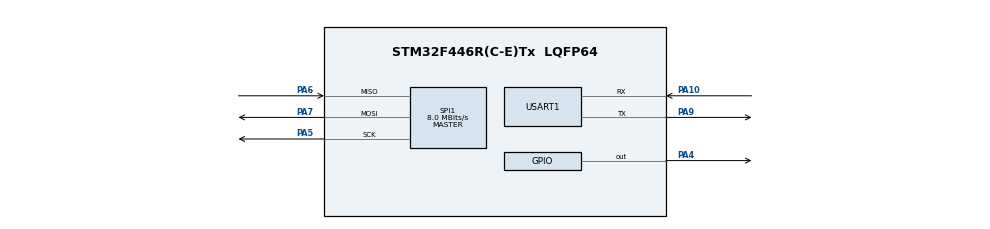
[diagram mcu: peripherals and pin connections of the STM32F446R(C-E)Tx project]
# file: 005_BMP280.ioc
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Mcu.Family=STM32F4
Mcu.Name=STM32F446R(C-E)Tx
Mcu.Package=LQFP64
NVIC.PriorityGroup=NVIC_PRIORITYGROUP_4
NVIC.SPI1_IRQn=true\:0\:0\:false\:false\:true\:true\:true\:true
NVIC.USART1_IRQn=true\:0\:0\:false\:false\:true\:true\:true\:true
PA10.Mode=Asynchronous
PA10.Signal=USART1_RX
PA4.Signal=GPIO_Output
PA5.Mode=Full_Duplex_Master
PA5.Signal=SPI1_SCK
PA6.Mode=Full_Duplex_Master
PA6.Signal=SPI1_MISO
PA7.Mode=Full_Duplex_Master
PA7.Signal=SPI1_MOSI
PA9.Mode=Asynchronous
PA9.Signal=USART1_TX
ProjectManager.HeapSize=0x200
ProjectManager.StackSize=0x400
ProjectManager.TargetToolchain=STM32CubeIDE
RCC.CortexFreq_Value=16000000
RCC.USBFreq_Value=96000000
RCC.VCOOutputFreq_Value=192000000
SPI1.CalculateBaudRate=8.0 MBits/s
SPI1.Direction=SPI_DIRECTION_2LINES
SPI1.Mode=SPI_MODE_MASTER
SPI1.VirtualType=VM_MASTER
USART1.VirtualMode=VM_ASYNC
board=custom

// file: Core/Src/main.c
/* USER CODE BEGIN Header */
/**
  ******************************************************************************
  * @file           : main.c
  * @brief          : Main program body
  ******************************************************************************
  * @attention
  *
  * Copyright (c) 2025 STMicroelectronics.
  * All rights reserved.
  *
  * This software is licensed under terms that can be found in the LICENSE file
  * in the root directory of this software component.
  * If no LICENSE file comes with this software, it is provided AS-IS.
  *
  ******************************************************************************
  */
/* USER CODE END Header */
#include "main.h"

/* USER CODE BEGIN Includes */
#include <string.h>
#include <stdio.h>
#include <stdlib.h>
#include "driver_bmp280.h"
#include "driver_bmp280_interface.h"
/* USER CODE END Includes */

SPI_HandleTypeDef hspi1;

UART_HandleTypeDef huart1;

/* USER CODE BEGIN PV */
bmp280_handle_t bmp280_handle;
//static uint8_t tx_buffer[1000];
RingBuffer txBuf, rxBuf;
/* USER CODE END PV */

void SystemClock_Config(void);
static void MX_GPIO_Init(void);
static void MX_SPI1_Init(void);
static void MX_USART1_UART_Init(void);
/* USER CODE BEGIN PFP */
uint8_t bmp280_basic_init(void);
uint8_t bmp280_basic_read(float *temperature_c, float *pressure_pa);
/* USER CODE END PFP */

int main(void)
{

  /* USER CODE BEGIN 1 */
	float temperature, pressure;
	uint8_t res;
  /* USER CODE END 1 */

  /* MCU Configuration--------------------------------------------------------*/

  /* Reset of all peripherals, Initializes the Flash interface and the Systick. */
  HAL_Init();

  /* Configure the system clock */
  SystemClock_Config();

  /* Initialize all configured peripherals */
  MX_GPIO_Init();
  MX_SPI1_Init();
  MX_USART1_UART_Init();
  /* USER CODE BEGIN 2 */
  res = bmp280_basic_init();
  if (res != 0)
  {
    /* Initialization failed - handle error */
    bmp280_interface_debug_print("BMP280 initialization failed!\r\n");
    while(1);
  }

  bmp280_interface_debug_print("BMP280 initialized successfully!\r\n");
  /* USER CODE END 2 */

  /* Infinite loop */
  while (1)
  {

    /* USER CODE BEGIN 3 */
	  res = bmp280_basic_read(&temperature, &pressure);
	  if (res == 0)
	  {
		  bmp280_interface_debug_print("Temperature: %.2f°C, Pressure: %.2f Pa (%.2f hPa)\r\n",
				  temperature, pressure, pressure / 100.0f);
	  }
	  else
	  {
		  bmp280_interface_debug_print("failed to read sensor data!\n");
	  }

	  HAL_Delay(1000);
  }
  /* USER CODE END 3 */
}

void SystemClock_Config(void)
{
  RCC_OscInitTypeDef RCC_OscInitStruct = {0};
  RCC_ClkInitTypeDef RCC_ClkInitStruct = {0};

  /** Configure the main internal regulator output voltage
  */
  __HAL_RCC_PWR_CLK_ENABLE();
  __HAL_PWR_VOLTAGESCALING_CONFIG(PWR_REGULATOR_VOLTAGE_SCALE3);

  /** Initializes the RCC Oscillators according to the specified parameters
  * in the RCC_OscInitTypeDef structure.
  */
  RCC_OscInitStruct.OscillatorType = RCC_OSCILLATORTYPE_HSI;
  RCC_OscInitStruct.HSIState = RCC_HSI_ON;
  RCC_OscInitStruct.HSICalibrationValue = RCC_HSICALIBRATION_DEFAULT;
  RCC_OscInitStruct.PLL.PLLState = RCC_PLL_NONE;
  if (HAL_RCC_OscConfig(&RCC_OscInitStruct) != HAL_OK)
  {
    Error_Handler();
  }

  /** Initializes the CPU, AHB and APB buses clocks
  */
  RCC_ClkInitStruct.ClockType = RCC_CLOCKTYPE_HCLK|RCC_CLOCKTYPE_SYSCLK
                              |RCC_CLOCKTYPE_PCLK1|RCC_CLOCKTYPE_PCLK2;
  RCC_ClkInitStruct.SYSCLKSource = RCC_SYSCLKSOURCE_HSI;
  RCC_ClkInitStruct.AHBCLKDivider = RCC_SYSCLK_DIV1;
  RCC_ClkInitStruct.APB1CLKDivider = RCC_HCLK_DIV1;
  RCC_ClkInitStruct.APB2CLKDivider = RCC_HCLK_DIV1;

  if (HAL_RCC_ClockConfig(&RCC_ClkInitStruct, FLASH_LATENCY_0) != HAL_OK)
  {
    Error_Handler();
  }
}

static void MX_SPI1_Init(void)
{

  /* SPI1 parameter configuration*/
  hspi1.Instance = SPI1;
  hspi1.Init.Mode = SPI_MODE_MASTER;
  hspi1.Init.Direction = SPI_DIRECTION_2LINES;
  hspi1.Init.DataSize = SPI_DATASIZE_8BIT;
  hspi1.Init.CLKPolarity = SPI_POLARITY_LOW;
  hspi1.Init.CLKPhase = SPI_PHASE_1EDGE;
  hspi1.Init.NSS = SPI_NSS_SOFT;
  hspi1.Init.BaudRatePrescaler = SPI_BAUDRATEPRESCALER_2;
  hspi1.Init.FirstBit = SPI_FIRSTBIT_MSB;
  hspi1.Init.TIMode = SPI_TIMODE_DISABLE;
  hspi1.Init.CRCCalculation = SPI_CRCCALCULATION_DISABLE;
  hspi1.Init.CRCPolynomial = 10;
  if (HAL_SPI_Init(&hspi1) != HAL_OK)
  {
    Error_Handler();
  }

}

static void MX_USART1_UART_Init(void)
{

  huart1.Instance = USART1;
  huart1.Init.BaudRate = 115200;
  huart1.Init.WordLength = UART_WORDLENGTH_8B;
  huart1.Init.StopBits = UART_STOPBITS_1;
  huart1.Init.Parity = UART_PARITY_NONE;
  huart1.Init.Mode = UART_MODE_TX_RX;
  huart1.Init.HwFlowCtl = UART_HWCONTROL_NONE;
  huart1.Init.OverSampling = UART_OVERSAMPLING_16;
  if (HAL_UART_Init(&huart1) != HAL_OK)
  {
    Error_Handler();
  }

}

static void MX_GPIO_Init(void)
{
  GPIO_InitTypeDef GPIO_InitStruct = {0};

  /* GPIO Ports Clock Enable */
  __HAL_RCC_GPIOA_CLK_ENABLE();

  /*Configure GPIO pin Output Level */
  HAL_GPIO_WritePin(GPIOA, GPIO_PIN_4, GPIO_PIN_RESET);

  /*Configure GPIO pin : PA4 */
  GPIO_InitStruct.Pin = GPIO_PIN_4;
  GPIO_InitStruct.Mode = GPIO_MODE_OUTPUT_PP;
  GPIO_InitStruct.Pull = GPIO_NOPULL;
  GPIO_InitStruct.Speed = GPIO_SPEED_FREQ_LOW;
  HAL_GPIO_Init(GPIOA, &GPIO_InitStruct);

}

/* USER CODE BEGIN 4 */
uint8_t UART_Transmit(UART_HandleTypeDef *huart, uint8_t *pData, uint16_t len)
{
  if (huart->gState == HAL_UART_STATE_READY)
  {
    if (HAL_UART_Transmit_IT(huart, pData, len) == HAL_OK)
    {
      return 1;
    }
  }

  // If UART is busy, store in ring buffer
  if (RingBuffer_Write(&txBuf, pData, len) == RING_BUFFER_OK)
  {
    return 1;
  }

  return 0;
}

uint8_t bmp280_basic_init(void)
{
    uint8_t res;
    bmp280_info_t info;

    // chip info
    res = bmp280_info(&info);
    if (res != 0)
    {
        bmp280_interface_debug_print("\r\nbmp280: get info failed.\r\n");
        return 1;
    }
    else
    {
        bmp280_interface_debug_print("\r\nbmp280: chip is %s.\r\n", info.chip_name);
        bmp280_interface_debug_print("bmp280: manufacturer is %s.\r\n", info.manufacturer_name);
        bmp280_interface_debug_print("bmp280: interface is %s.\r\n", info.interface);
        bmp280_interface_debug_print("bmp280: driver version is %d.%d.\r\n", info.driver_version / 1000, (info.driver_version % 1000) / 100);
        bmp280_interface_debug_print("bmp280: min supply voltage is %0.1fV.\r\n", info.supply_voltage_min_v);
        bmp280_interface_debug_print("bmp280: max supply voltage is %0.1fV.\r\n", info.supply_voltage_max_v);
        bmp280_interface_debug_print("bmp280: max current is %0.2fmA.\r\n", info.max_current_ma);
        bmp280_interface_debug_print("bmp280: temperature range is %0.1fC - %0.1fC.\r\n", info.temperature_min, info.temperature_max);
    }

    // link interface functions
    DRIVER_BMP280_LINK_INIT(&bmp280_handle, bmp280_handle_t);
    DRIVER_BMP280_LINK_IIC_INIT(&bmp280_handle, bmp280_interface_iic_init);
    DRIVER_BMP280_LINK_IIC_DEINIT(&bmp280_handle, bmp280_interface_iic_deinit);
    DRIVER_BMP280_LINK_IIC_READ(&bmp280_handle, bmp280_interface_iic_read);
    DRIVER_BMP280_LINK_IIC_WRITE(&bmp280_handle, bmp280_interface_iic_write);
    DRIVER_BMP280_LINK_SPI_INIT(&bmp280_handle, bmp280_interface_spi_init);
    DRIVER_BMP280_LINK_SPI_DEINIT(&bmp280_handle, bmp280_interface_spi_deinit);
    DRIVER_BMP280_LINK_SPI_READ(&bmp280_handle, bmp280_interface_spi_read);
    DRIVER_BMP280_LINK_SPI_WRITE(&bmp280_handle, bmp280_interface_spi_write);
    DRIVER_BMP280_LINK_DELAY_MS(&bmp280_handle, bmp280_interface_delay_ms);
    DRIVER_BMP280_LINK_DEBUG_PRINT(&bmp280_handle, bmp280_interface_debug_print);

    // set interface to SPI
    res = bmp280_set_interface(&bmp280_handle, BMP280_INTERFACE_SPI);
    if (res != 0)
    {
        bmp280_interface_debug_print("\r\nbmp280: set interface failed.\r\n");
        return 1;
    }

    // init
    res = bmp280_init(&bmp280_handle);
    if (res != 0)
    {
        bmp280_interface_debug_print("\r\nbmp280: init failed.\r\n");
        return 1;
    }

    // temperature oversampling
    res = bmp280_set_temperatue_oversampling(&bmp280_handle, BMP280_OVERSAMPLING_x2);
    if (res != 0)
    {
        bmp280_interface_debug_print("\r\nbmp280: set temperature oversampling failed.\r\n");
        (void)bmp280_deinit(&bmp280_handle);
        return 1;
    }

    // pressure oversampling
    res = bmp280_set_pressure_oversampling(&bmp280_handle, BMP280_OVERSAMPLING_x16);
    if (res != 0)
    {
        bmp280_interface_debug_print("\r\nbmp280: set pressure oversampling failed.\r\n");
        (void)bmp280_deinit(&bmp280_handle);
        return 1;
    }

    // standby time
    res = bmp280_set_standby_time(&bmp280_handle, BMP280_STANDBY_TIME_250_MS);
    if (res != 0)
    {
        bmp280_interface_debug_print("\r\nbmp280: set standby time failed.\r\n");
        (void)bmp280_deinit(&bmp280_handle);
        return 1;
    }

    // filter
    res = bmp280_set_filter(&bmp280_handle, BMP280_FILTER_COEFF_16);
    if (res != 0)
    {
        bmp280_interface_debug_print("\r\nbmp280: set filter failed.\r\n");
        (void)bmp280_deinit(&bmp280_handle);
        return 1;
    }

    // normal mode
    res = bmp280_set_mode(&bmp280_handle, BMP280_MODE_NORMAL);
    if (res != 0)
    {
        bmp280_interface_debug_print("\r\nbmp280: set mode failed.\r\n");
        (void)bmp280_deinit(&bmp280_handle);
        return 1;
    }

    bmp280_interface_debug_print("bmp280: init success.\r\n");
    return 0;
}

uint8_t bmp280_basic_read(float *temperature_c, float *pressure_pa)
{
    uint32_t temperature_raw;
    uint32_t pressure_raw;

    return bmp280_read_temperature_pressure(&bmp280_handle, &temperature_raw, temperature_c, &pressure_raw, pressure_pa);
}
/* USER CODE END 4 */

void Error_Handler(void)
{
  __disable_irq();
  while (1)
  {
  }
}
